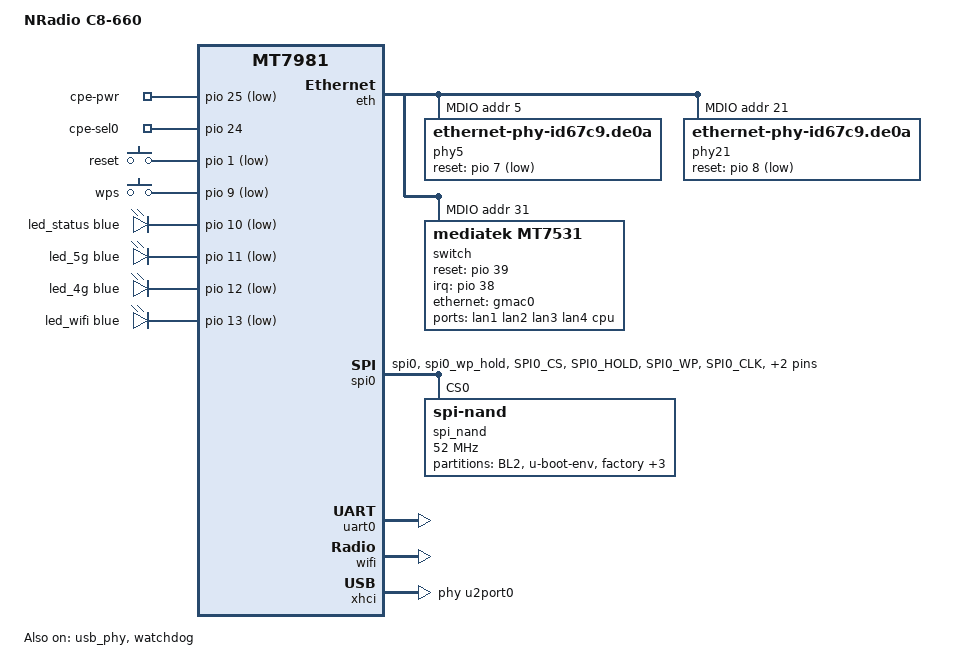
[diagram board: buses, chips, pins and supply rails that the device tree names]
// SPDX-License-Identifier: GPL-2.0-or-later OR MIT
/*
 * NRadio C8-660 (ODM board WT9103, MT7981B)
 *
 * 3x GbE + 1x 2.5GbE LAN on MT7531 switch, gmac1 2.5GbE to onboard 5G module
 * bridge, 512 MiB SPI-NAND, onboard 5G module on USB 2.0 (powered by cpe-pwr).
 *
 * Pin map / PHY / partition offsets come from NRadio's own second-system DTS
 * (mt7981-nradio-wt9103-2nd.dts + mt7981-nradio-snand-2nd.dtsi, published with
 * "鲲鹏双系统第二系统开发适配指南"); hanwckf's mt7981-nradio-wt9103{,-512m}.dts
 * agrees except for the WPS polarity. Only difference here: single-system flash
 * layout (one ubi instead of ubi_1st + app_data + ubi_2nd).
 */

/dts-v1/;

#include <dt-bindings/gpio/gpio.h>
#include <dt-bindings/input/input.h>
#include <dt-bindings/leds/common.h>
#include <dt-bindings/phy/phy.h>
#include <dt-bindings/pinctrl/mt65xx.h>

#include "mt7981b.dtsi"

/ {
	model = "NRadio C8-660";
	compatible = "nradio,c8-660", "mediatek,mt7981";

	aliases {
		ethernet0 = &gmac0;
		ethernet1 = &gmac1;
		label-mac-device = &gmac0;
		led-boot = &led_status;
		led-failsafe = &led_status;
		led-running = &led_status;
		led-upgrade = &led_status;
		serial0 = &uart0;
	};

	chosen {
		stdout-path = "serial0:115200n8";
	};

	/* 5G module power rail and SIM slot select, exported to userspace.
	 * The "gpio-export" driver ships in OpenWrt's generic patch
	 * 800-GPIO-add-named-gpio-exports (built via CONFIG_GPIO_SYSFS),
	 * so no extra package is required. */
	gpio-export {
		compatible = "gpio-export";

		cpepower {
			gpio-export,name = "cpe-pwr";
			gpio-export,output = <0>;
			gpios = <&pio 25 GPIO_ACTIVE_LOW>;
		};

		cpesel0 {
			gpio-export,name = "cpe-sel0";
			gpio-export,output = <1>;
			gpios = <&pio 24 GPIO_ACTIVE_HIGH>;
		};
	};

	gpio-keys {
		compatible = "gpio-keys";

		button-reset {
			label = "reset";
			linux,code = <KEY_RESTART>;
			gpios = <&pio 1 GPIO_ACTIVE_LOW>;
		};

		button-wps {
			label = "wps";
			linux,code = <KEY_WPS_BUTTON>;
			gpios = <&pio 9 GPIO_ACTIVE_LOW>;
		};
	};

	gpio-leds {
		compatible = "gpio-leds";

		led_status: led-0 {
			function = LED_FUNCTION_STATUS;
			color = <LED_COLOR_ID_BLUE>;
			gpios = <&pio 10 GPIO_ACTIVE_LOW>;
		};

		led_5g: led-1 {
			function = LED_FUNCTION_INDICATOR;
			function-enumerator = <0>;
			color = <LED_COLOR_ID_BLUE>;
			gpios = <&pio 11 GPIO_ACTIVE_LOW>;
		};

		led_4g: led-2 {
			function = LED_FUNCTION_INDICATOR;
			function-enumerator = <1>;
			color = <LED_COLOR_ID_BLUE>;
			gpios = <&pio 12 GPIO_ACTIVE_LOW>;
		};

		led_wifi: led-3 {
			function = LED_FUNCTION_WLAN;
			color = <LED_COLOR_ID_BLUE>;
			gpios = <&pio 13 GPIO_ACTIVE_LOW>;
		};
	};
};

&eth {
	status = "okay";

	gmac0: mac@0 {
		compatible = "mediatek,eth-mac";
		reg = <0>;
		phy-mode = "2500base-x";

		fixed-link {
			speed = <2500>;
			full-duplex;
			pause;
		};
	};

	gmac1: mac@1 {
		compatible = "mediatek,eth-mac";
		reg = <1>;
		phy-mode = "2500base-x";
		/* Internal 2.5GbE link via PHY21 (GPY211B) to the onboard 5G module
		 * bridge; external 2.5GbE RJ45 is switch port@5 (lan4 / PHY5).
		 * Attaching phy21 keeps link/speed reporting working on eth1. */
		phy-handle = <&phy21>;
	};

	mdio: mdio-bus {
		#address-cells = <1>;
		#size-cells = <0>;

		/* 2.5G ports: MaxLinear GPY211B (PHY ID 0x67c9de0a), own reset GPIO each.
		 * Values taken from hanwckf/immortalwrt-mt798x (mt7981-nradio-wt9103.dts). */
		phy5: ethernet-phy@5 {
			compatible = "ethernet-phy-id67c9.de0a";
			reg = <5>;
			phy-mode = "2500base-x";
			reset-gpios = <&pio 7 GPIO_ACTIVE_LOW>;
			reset-assert-us = <600>;
			reset-deassert-us = <20000>;
		};

		phy21: ethernet-phy@21 {
			compatible = "ethernet-phy-id67c9.de0a";
			reg = <21>;
			phy-mode = "2500base-x";
			reset-gpios = <&pio 8 GPIO_ACTIVE_LOW>;
			reset-assert-us = <600>;
			reset-deassert-us = <20000>;
		};

		switch@1f {
			compatible = "mediatek,mt7531";
			reg = <31>;
			/* Vanilla kernel convention: upstream uses ACTIVE_HIGH on every
			 * MT7981 board with this switch (c8-668gl, rax3000m, 360t7).
			 * X-WRT's ACTIVE_LOW goes together with their kernel patch
			 * "net: dsa: mt7530: fix reset polarity" (eaee5d2f), not usable here. */
			reset-gpios = <&pio 39 GPIO_ACTIVE_HIGH>;
			interrupt-controller;
			#interrupt-cells = <1>;
			interrupt-parent = <&pio>;
			interrupts = <38 IRQ_TYPE_LEVEL_HIGH>;

			ports {
				#address-cells = <1>;
				#size-cells = <0>;

				port@1 {
					reg = <1>;
					label = "lan1";
				};

				port@2 {
					reg = <2>;
					label = "lan2";
				};

				port@3 {
					reg = <3>;
					label = "lan3";
				};

				port@5 {
					reg = <5>;
					label = "lan4";
					phy-mode = "2500base-x";
					phy-handle = <&phy5>;
				};

				port@6 {
					reg = <6>;
					label = "cpu";
					ethernet = <&gmac0>;
					phy-mode = "2500base-x";

					fixed-link {
						speed = <2500>;
						full-duplex;
						pause;
					};
				};
			};
		};
	};
};

&spi0 {
	pinctrl-names = "default";
	pinctrl-0 = <&spi0_flash_pins>;
	status = "okay";

	spi_nand: flash@0 {
		compatible = "spi-nand";
		reg = <0>;

		spi-cal-enable;
		spi-cal-mode = "read-data";
		spi-cal-datalen = <7>;
		spi-cal-data = /bits/ 8 <0x53 0x50 0x49 0x4e 0x41 0x4e 0x44>;
		spi-cal-addrlen = <5>;
		spi-cal-addr = /bits/ 32 <0x0 0x0 0x0 0x0 0x0>;

		spi-max-frequency = <52000000>;
		spi-tx-bus-width = <4>;
		spi-rx-bus-width = <4>;

		mediatek,nmbm;
		mediatek,bmt-max-ratio = <1>;
		mediatek,bmt-max-reserved-blocks = <64>;

		partitions {
			compatible = "fixed-partitions";
			#address-cells = <1>;
			#size-cells = <1>;

			partition@0 {
				label = "BL2";
				reg = <0x0 0x100000>;
				read-only;
			};

			partition@100000 {
				label = "u-boot-env";
				reg = <0x100000 0x80000>;
			};

			factory: partition@180000 {
				label = "factory";
				reg = <0x180000 0x180000>;

				nvmem-layout {
					compatible = "fixed-layout";
					#address-cells = <1>;
					#size-cells = <1>;

					eeprom_factory_0: eeprom@0 {
						reg = <0x0 0x1000>;
					};
				};
			};

			partition@300000 {
				label = "bdinfo";
				reg = <0x300000 0x80000>;
			};

			partition@380000 {
				label = "FIP";
				reg = <0x380000 0x200000>;
				read-only;
			};

			/* Single system: one ubi over the whole usable tail.
			 * NMBM (bmt-max-ratio = <1>) reserves 256 blocks (0x2000000),
			 * so usable flash ends at 0x1e000000 -> size 0x1da80000. */
			partition@580000 {
				label = "ubi";
				reg = <0x580000 0x1da80000>;
				compatible = "linux,ubi";
			};
		};
	};
};

&pio {
	spi0_flash_pins: spi0-pins {
		mux {
			function = "spi";
			groups = "spi0", "spi0_wp_hold";
		};

		conf-pu {
			pins = "SPI0_CS", "SPI0_HOLD", "SPI0_WP";
			drive-strength = <MTK_DRIVE_8mA>;
			bias-pull-up = <MTK_PUPD_SET_R1R0_11>;
		};

		conf-pd {
			pins = "SPI0_CLK", "SPI0_MOSI", "SPI0_MISO";
			drive-strength = <MTK_DRIVE_8mA>;
			bias-pull-down = <MTK_PUPD_SET_R1R0_11>;
		};
	};
};

&uart0 {
	status = "okay";
};

&usb_phy {
	status = "okay";
};

&watchdog {
	status = "okay";
};

&wifi {
	nvmem-cells = <&eeprom_factory_0>;
	nvmem-cell-names = "eeprom";
	status = "okay";
};

&xhci {
	/* Onboard 5G module only wires USB 2.0 (`speedctl = 0` in bdinfo);
	 * disabling the unconnected USB3 port prevents repeated SuperSpeed
	 * link-training timeouts during boot. */
	phys = <&u2port0 PHY_TYPE_USB2>;
	mediatek,u3p-dis-msk = <0x01>;
	status = "okay";
};
